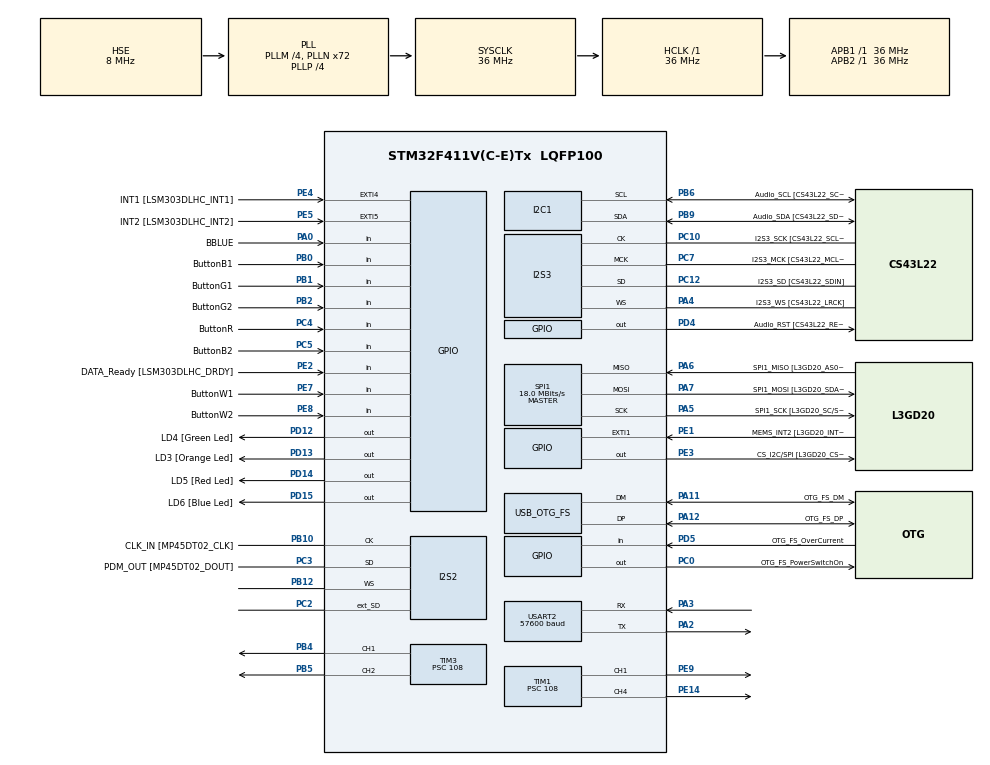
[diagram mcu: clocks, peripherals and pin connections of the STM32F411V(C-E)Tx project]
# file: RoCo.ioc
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I2S2.AudioFreq=I2S_AUDIOFREQ_96K
I2S2.ErrorAudioFreq=0.15 %
I2S2.FullDuplexMode=I2S_FULLDUPLEXMODE_ENABLE
I2S2.Instance=SPI$Index
I2S2.RealAudioFreq=96.153 KHz
I2S2.VirtualMode=I2S_MODE_MASTER
I2S3.AudioFreq=I2S_AUDIOFREQ_96K
I2S3.ErrorAudioFreq=-6.99 %
I2S3.FullDuplexMode=I2S_FULLDUPLEXMODE_DISABLE
I2S3.Instance=SPI$Index
I2S3.RealAudioFreq=89.285 KHz
I2S3.VirtualMode=I2S_MODE_MASTER
Mcu.Family=STM32F4
Mcu.Name=STM32F411V(C-E)Tx
Mcu.Package=LQFP100
NVIC.OTG_FS_IRQn=true\:0\:0\:false\:false\:true\:true\:true
NVIC.PriorityGroup=NVIC_PRIORITYGROUP_0
NVIC.USART2_IRQn=true\:0\:0\:false\:false\:true\:true\:true
PA0-WKUP.GPIO_Label=BBLUE
PA0-WKUP.Signal=GPIO_Input
PA10.GPIO_Label=OTG_FS_ID
PA10.Signal=USB_OTG_FS_ID
PA11.GPIO_Label=OTG_FS_DM
PA11.Mode=Device_Only
PA11.Signal=USB_OTG_FS_DM
PA12.GPIO_Label=OTG_FS_DP
PA12.Mode=Device_Only
PA12.Signal=USB_OTG_FS_DP
PA13.GPIO_Label=SWDIO
PA13.Signal=SYS_JTMS-SWDIO
PA14.GPIO_Label=SWCLK
PA14.Signal=SYS_JTCK-SWCLK
PA2.Mode=Asynchronous
PA2.Signal=USART2_TX
PA3.Mode=Asynchronous
PA3.Signal=USART2_RX
PA4.GPIO_Label=I2S3_WS [CS43L22_LRCK]
PA4.GPIO_Mode=GPIO_MODE_AF_PP
PA4.GPIO_PuPd=GPIO_NOPULL
PA4.GPIO_Speed=GPIO_SPEED_FREQ_LOW
PA4.Mode=Half_Duplex_Master
PA4.Signal=I2S3_WS
PA5.GPIO_Label=SPI1_SCK [L3GD20_SC/SPC]
PA5.Mode=Full_Duplex_Master
PA5.Signal=SPI1_SCK
PA6.GPIO_Label=SPI1_MISO [L3GD20_AS0/SDO]
PA6.Mode=Full_Duplex_Master
PA6.Signal=SPI1_MISO
PA7.GPIO_Label=SPI1_MOSI [L3GD20_SDA/SDI/SDO]
PA7.Mode=Full_Duplex_Master
PA7.Signal=SPI1_MOSI
PA9.GPIO_Label=VBUS_FS
PA9.Signal=USB_OTG_FS_VBUS
PB0.GPIO_Label=ButtonB1
PB0.GPIO_PuPd=GPIO_PULLUP
PB0.Signal=GPIO_Input
PB1.GPIO_Label=ButtonG1
PB1.GPIO_PuPd=GPIO_PULLUP
PB1.Signal=GPIO_Input
PB10.GPIO_Label=CLK_IN [MP45DT02_CLK]
PB10.Mode=Full_Duplex_Master
PB10.Signal=I2S2_CK
PB12.Mode=Full_Duplex_Master
PB12.Signal=I2S2_WS
PB2.GPIO_Label=ButtonG2
PB2.GPIO_PuPd=GPIO_PULLUP
PB2.Signal=GPIO_Input
PB3.GPIO_Label=SWO
PB3.Signal=SYS_JTDO-SWO
PB4.Signal=S_TIM3_CH1
PB5.Signal=S_TIM3_CH2
PB6.GPIO_Label=Audio_SCL [CS43L22_SCL]
PB6.GPIO_Mode=GPIO_MODE_AF_OD
PB6.GPIO_PuPd=GPIO_NOPULL
PB6.GPIO_Speed=GPIO_SPEED_FREQ_LOW
PB6.Mode=I2C
PB6.Signal=I2C1_SCL
PB9.GPIO_Label=Audio_SDA [CS43L22_SDA]
PB9.GPIO_Mode=GPIO_MODE_AF_OD
PB9.GPIO_PuPd=GPIO_NOPULL
PB9.GPIO_Speed=GPIO_SPEED_FREQ_LOW
PB9.Mode=I2C
PB9.Signal=I2C1_SDA
PC0.GPIO_Label=OTG_FS_PowerSwitchOn
PC0.PinState=GPIO_PIN_SET
PC0.Signal=GPIO_Output
PC10.GPIO_Label=I2S3_SCK [CS43L22_SCLK]
PC10.GPIO_Mode=GPIO_MODE_AF_PP
PC10.GPIO_PuPd=GPIO_NOPULL
PC10.GPIO_Speed=GPIO_SPEED_FREQ_LOW
PC10.Mode=Half_Duplex_Master
PC10.Signal=I2S3_CK
PC12.GPIO_Label=I2S3_SD [CS43L22_SDIN]
PC12.GPIO_Mode=GPIO_MODE_AF_PP
PC12.GPIO_PuPd=GPIO_NOPULL
PC12.GPIO_Speed=GPIO_SPEED_FREQ_LOW
PC12.Mode=Half_Duplex_Master
PC12.Signal=I2S3_SD
PC14-OSC32_IN.GPIO_Label=PC14-OSC32_IN
PC14-OSC32_IN.Signal=RCC_OSC32_IN
PC15-OSC32_OUT.GPIO_Label=PC15-OSC32_OUT
PC15-OSC32_OUT.Signal=RCC_OSC32_OUT
PC2.Mode=Full_Duplex_Master
PC2.Signal=I2S2_ext_SD
PC3.GPIO_Label=PDM_OUT [MP45DT02_DOUT]
PC3.Mode=Full_Duplex_Master
PC3.Signal=I2S2_SD
PC4.GPIO_Label=ButtonR
PC4.GPIO_PuPd=GPIO_PULLUP
PC4.Signal=GPIO_Input
PC5.GPIO_Label=ButtonB2
PC5.GPIO_PuPd=GPIO_PULLUP
PC5.Signal=GPIO_Input
PC7.GPIO_Label=I2S3_MCK [CS43L22_MCLK]
PC7.GPIO_Mode=GPIO_MODE_AF_PP
PC7.GPIO_PuPd=GPIO_NOPULL
PC7.GPIO_Speed=GPIO_SPEED_FREQ_LOW
PC7.Mode=Master_Clock_Activated
PC7.Signal=I2S3_MCK
PD12.GPIO_Label=LD4 [Green Led]
PD12.GPIO_PuPd=GPIO_NOPULL
PD12.GPIO_Speed=GPIO_SPEED_FREQ_LOW
PD12.Signal=GPIO_Output
PD13.GPIO_Label=LD3 [Orange Led]
PD13.GPIO_PuPd=GPIO_NOPULL
PD13.GPIO_Speed=GPIO_SPEED_FREQ_LOW
PD13.Signal=GPIO_Output
PD14.GPIO_Label=LD5 [Red Led]
PD14.GPIO_PuPd=GPIO_NOPULL
PD14.GPIO_Speed=GPIO_SPEED_FREQ_LOW
PD14.Signal=GPIO_Output
PD15.GPIO_Label=LD6 [Blue Led]
PD15.GPIO_PuPd=GPIO_NOPULL
PD15.GPIO_Speed=GPIO_SPEED_FREQ_LOW
PD15.Signal=GPIO_Output
PD4.GPIO_Label=Audio_RST [CS43L22_RESET]
PD4.Signal=GPIO_Output
PD5.GPIO_Label=OTG_FS_OverCurrent
PD5.Signal=GPIO_Input
PE1.GPIO_Label=MEMS_INT2 [L3GD20_INT2]
PE1.GPIO_ModeDefaultEXTI=GPIO_MODE_EVT_RISING
PE1.Signal=GPXTI1
PE14.Signal=S_TIM1_CH4
PE2.GPIO_Label=DATA_Ready [LSM303DLHC_DRDY]
PE2.Signal=GPIO_Input
PE3.GPIO_Label=CS_I2C/SPI [L3GD20_CS_I2C/SPI]
PE3.Signal=GPIO_Output
PE4.GPIO_Label=INT1 [LSM303DLHC_INT1]
PE4.GPIO_ModeDefaultEXTI=GPIO_MODE_EVT_RISING
PE4.Signal=GPXTI4
PE5.GPIO_Label=INT2 [LSM303DLHC_INT2]
PE5.GPIO_ModeDefaultEXTI=GPIO_MODE_EVT_RISING
PE5.Signal=GPXTI5
PE7.GPIO_Label=ButtonW1
PE7.GPIO_PuPd=GPIO_PULLUP
PE7.Signal=GPIO_Input
PE8.GPIO_Label=ButtonW2
PE8.GPIO_PuPd=GPIO_PULLUP
PE8.Signal=GPIO_Input
PE9.Signal=S_TIM1_CH1
PH0\ -\ OSC_IN.GPIO_Label=PH0-OSC_IN
PH0\ -\ OSC_IN.Mode=HSE-External-Oscillator
PH0\ -\ OSC_IN.Signal=RCC_OSC_IN
PH1\ -\ OSC_OUT.GPIO_Label=PH1-OSC_OUT
PH1\ -\ OSC_OUT.Mode=HSE-External-Oscillator
PH1\ -\ OSC_OUT.Signal=RCC_OSC_OUT
ProjectManager.HeapSize=0x200
ProjectManager.StackSize=0x400
ProjectManager.TargetToolchain=STM32CubeIDE
RCC.48MHZClocksFreq_Value=48000000
RCC.AHBFreq_Value=36000000
RCC.APB1Freq_Value=36000000
RCC.APB1TimFreq_Value=36000000
RCC.APB2Freq_Value=36000000
RCC.APB2TimFreq_Value=36000000
RCC.CortexFreq_Value=36000000
RCC.HCLKFreq_Value=36000000
RCC.HSE_VALUE=8000000
RCC.HSI_VALUE=16000000
RCC.LSE_VALUE=32768
RCC.PLLI2SM=5
RCC.PLLI2SN=200
RCC.PLLM=4
RCC.PLLN=72
RCC.PLLP=RCC_PLLP_DIV4
RCC.PLLQ=3
RCC.SYSCLKFreq_VALUE=36000000
RCC.SYSCLKSource=RCC_SYSCLKSOURCE_PLLCLK
RCC.VCOOutputFreq_Value=144000000
SH.S_TIM1_CH1.0=TIM1_CH1,PWM Generation1 CH1
SH.S_TIM1_CH4.0=TIM1_CH4,PWM Generation4 CH4
SH.S_TIM3_CH1.0=TIM3_CH1,PWM Generation1 CH1
SH.S_TIM3_CH2.0=TIM3_CH2,PWM Generation2 CH2
SPI1.CalculateBaudRate=18.0 MBits/s
SPI1.Direction=SPI_DIRECTION_2LINES
SPI1.Mode=SPI_MODE_MASTER
SPI1.VirtualType=VM_MASTER
TIM1.Channel-PWM\ Generation1\ CH1=TIM_CHANNEL_1
TIM1.Channel-PWM\ Generation4\ CH4=TIM_CHANNEL_4
TIM1.Period=9999
TIM1.Prescaler=108
TIM3.Channel-PWM\ Generation1\ CH1=TIM_CHANNEL_1
TIM3.Channel-PWM\ Generation2\ CH2=TIM_CHANNEL_2
TIM3.Period=9999
TIM3.Prescaler=108
USART2.BaudRate=57600
USART2.VirtualMode=VM_ASYNC
USB_DEVICE.CLASS_NAME_FS=CDC
USB_DEVICE.VirtualMode=Cdc
USB_DEVICE.VirtualModeFS=Cdc_FS
USB_OTG_FS.VirtualMode=Device_Only
VP_TIM1_VS_ClockSourceINT.Mode=Internal
VP_TIM3_VS_ClockSourceINT.Mode=Internal
VP_USB_DEVICE_VS_USB_DEVICE_CDC_FS.Mode=CDC_FS
board=STM32F411E-DISCO

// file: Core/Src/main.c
/* USER CODE BEGIN Header */
/**
  ******************************************************************************
  * @file           : main.c
  * @brief          : Main program body
  ******************************************************************************
  * @attention
  *
  * <h2><center>&copy; Copyright (c) 2020 STMicroelectronics.
  * All rights reserved.</center></h2>
  *
  * This software component is licensed by ST under Ultimate Liberty license
  * SLA0044, the "License"; You may not use this file except in compliance with
  * the License. You may obtain a copy of the License at:
  *                             www.st.com/SLA0044
  *
  ******************************************************************************
  */
/* USER CODE END Header */

#include "main.h"
#include "i2c.h"
#include "i2s.h"
#include "spi.h"
#include "tim.h"
#include "usart.h"
#include "usb_device.h"
#include "gpio.h"

/* USER CODE BEGIN Includes */
#include "math.h"
#include "usbd_cdc_if.h" // Plik bedacy interfejsem uzytkownika do kontrolera USB
#include "../Oth/stm32f411e_discovery.h"
#include "../Oth/stm32f411e_discovery_accelerometer.h"
/* USER CODE END Includes */

/* USER CODE BEGIN PV */
#define L_MIN 280
#define L_MIN_O 280
#define L_MAX 640
#define L_MAX_O 640
#define L_DIR 640

#define R_MIN 280
#define R_MIN_O 280
#define R_MAX 640
#define R_MAX_O 640
#define R_DIR 640

#define B_MIN 300
#define B_MAX 590
#define B_DIFF 290

#define OFFS 0
#define DIFF 360

int timeStart = 0;
int lAt = 10;
int rAt = 100;

void leftArm(int n){
	if(n>DIFF)
		n=DIFF;
	if(n<0)
		n=0;
//	htim1.Instance->CCR1 = 640 - n; // lewy  - 640 tył 280 przód
	htim3.Instance->CCR1 = L_MAX - OFFS - n; // lewy  - 640 tył 280 przód
}

void rightArm(int n){
	if(n>DIFF)
		n=DIFF;
	if(n<0)
		n=0;
//	htim1.Instance->CCR4 = 280 +  n; // prawy - 280 tył 640 przód
	htim1.Instance->CCR4 = R_MIN + OFFS +  n; // prawy - 280 tył 640 przód
}

void leg(int n){
	if(n>B_DIFF)
		n=B_DIFF;
	if(n<0)
		n=0;
	htim1.Instance->CCR1 = B_MAX - n; // prawy - 280 tył 640 przód
}

void timeF(int t){
	leftArm( DIFF*(t-timeStart)/lAt);
	rightArm(DIFF*(t-timeStart)/rAt);
}

void stopRobot(){
	while(1){
		BSP_LED_Toggle(LED3);
		BSP_LED_Toggle(LED4);
		BSP_LED_Toggle(LED5);
		BSP_LED_Toggle(LED6);
	}
}

void buttons_handler();
void legs();
void jump();
void jumpL();
void jumpR();
void jumpRR();
void jumpF();
/* USER CODE END PV */

void SystemClock_Config(void);
/* USER CODE BEGIN PFP */

uint8_t DataToSend[1000];
uint8_t Dlugosc = 0;
int nIndex = 0;
int lastIndex = 0;
int16_t pDataXYZ[3];
int16_t pDataX = 0;
int16_t pDataY = 0;
int16_t pDataZ = 0;
double i = 1;
double AA1 = 100;
double AA2 = 330;
double AA3 = 330;
double AA4 = 10;
double AA5 = 50;
double AA6 = 200;
double W1 = 0;
double W2 = 0;
double B1 = 0;
double B2 = 0;
double G1 = 0;
double G2 = 0;
double R0 = 0;

double LF = DIFF;
double RF = DIFF;
double BB = 0;

double stepPerTime;
float Roll ;
float Pitch;

/* USER CODE END PFP */

int main(void)
{

  /* MCU Configuration--------------------------------------------------------*/

  /* Reset of all peripherals, Initializes the Flash interface and the Systick. */
  HAL_Init();

  /* Configure the system clock */
  SystemClock_Config();

  /* Initialize all configured peripherals */
  MX_GPIO_Init();
  MX_I2C1_Init();
  MX_I2S2_Init();
  MX_I2S3_Init();
  MX_SPI1_Init();
  MX_USART2_UART_Init();
  MX_USB_DEVICE_Init();
  MX_TIM1_Init();
  MX_TIM3_Init();
  /* USER CODE BEGIN 2 */
  BSP_ACCELERO_Init();

  HAL_TIM_PWM_Start(&htim1, TIM_CHANNEL_1); // PE9
  HAL_TIM_PWM_Start(&htim1, TIM_CHANNEL_4); // PE14
  HAL_TIM_PWM_Start(&htim3, TIM_CHANNEL_2); // PB5
  HAL_TIM_PWM_Start(&htim3, TIM_CHANNEL_1); // PB4
  //    PC4 R
  //    PC5
  //    PB0 G0
  //    PB1
  //    PB2 W0
  //    PE7
  //    PE8 B0

  //    PB5
  timeStart = HAL_GetTick();
  /* USER CODE END 2 */

  /* Infinite loop */
  while (1)
  {

    /* USER CODE BEGIN 3 */

	  buttons_handler();

//	  rightArm(RF);
//	  leftArm(RF);
//	  leg(RF);
	  legs();
	  HAL_Delay(1);
	  RF = DIFF;
	  LF = DIFF;
	  BB = 0;
//	  timeF(HAL_GetTick());

//	  leftArm( DIFF*((int)i%2));
//	  rightArm(DIFF*((int)i%2));
//	  leg(55 + 135 + 135*i); // -145 -> 125  270
  }

  //			Dlugosc = sprintf(DataToSend, "Y \r\n");
  //			CDC_Transmit_FS(DataToSend, Dlugosc);
  //			lastIndex = nIndex;
  /* USER CODE END 3 */
}

void SystemClock_Config(void)
{
  RCC_OscInitTypeDef RCC_OscInitStruct = {0};
  RCC_ClkInitTypeDef RCC_ClkInitStruct = {0};
  RCC_PeriphCLKInitTypeDef PeriphClkInitStruct = {0};

  /** Configure the main internal regulator output voltage
  */
  __HAL_RCC_PWR_CLK_ENABLE();
  __HAL_PWR_VOLTAGESCALING_CONFIG(PWR_REGULATOR_VOLTAGE_SCALE1);
  /** Initializes the CPU, AHB and APB busses clocks
  */
  RCC_OscInitStruct.OscillatorType = RCC_OSCILLATORTYPE_HSE;
  RCC_OscInitStruct.HSEState = RCC_HSE_ON;
  RCC_OscInitStruct.PLL.PLLState = RCC_PLL_ON;
  RCC_OscInitStruct.PLL.PLLSource = RCC_PLLSOURCE_HSE;
  RCC_OscInitStruct.PLL.PLLM = 4;
  RCC_OscInitStruct.PLL.PLLN = 72;
  RCC_OscInitStruct.PLL.PLLP = RCC_PLLP_DIV4;
  RCC_OscInitStruct.PLL.PLLQ = 3;
  if (HAL_RCC_OscConfig(&RCC_OscInitStruct) != HAL_OK)
  {
    Error_Handler();
  }
  /** Initializes the CPU, AHB and APB busses clocks
  */
  RCC_ClkInitStruct.ClockType = RCC_CLOCKTYPE_HCLK|RCC_CLOCKTYPE_SYSCLK
                              |RCC_CLOCKTYPE_PCLK1|RCC_CLOCKTYPE_PCLK2;
  RCC_ClkInitStruct.SYSCLKSource = RCC_SYSCLKSOURCE_PLLCLK;
  RCC_ClkInitStruct.AHBCLKDivider = RCC_SYSCLK_DIV1;
  RCC_ClkInitStruct.APB1CLKDivider = RCC_HCLK_DIV1;
  RCC_ClkInitStruct.APB2CLKDivider = RCC_HCLK_DIV1;

  if (HAL_RCC_ClockConfig(&RCC_ClkInitStruct, FLASH_LATENCY_1) != HAL_OK)
  {
    Error_Handler();
  }
  PeriphClkInitStruct.PeriphClockSelection = RCC_PERIPHCLK_I2S;
  PeriphClkInitStruct.PLLI2S.PLLI2SN = 200;
  PeriphClkInitStruct.PLLI2S.PLLI2SM = 5;
  PeriphClkInitStruct.PLLI2S.PLLI2SR = 2;
  if (HAL_RCCEx_PeriphCLKConfig(&PeriphClkInitStruct) != HAL_OK)
  {
    Error_Handler();
  }
}

/* USER CODE BEGIN 4 */

void buttons_handler(){
  	if(HAL_GPIO_ReadPin(BBLUE_GPIO_Port, BBLUE_Pin)) i = 1;
  	else i = 0;
//
//  	if(HAL_GPIO_ReadPin(ButtonB1_GPIO_Port, ButtonB1_Pin)) BB += 1; // B1 = 1;
//  	else B1 = 0;
//
//  	if(HAL_GPIO_ReadPin(ButtonB2_GPIO_Port, ButtonB2_Pin)) BB -= 1; // B2 = 1;
//  	else B2 = 0;
//
//  	if(HAL_GPIO_ReadPin(ButtonG1_GPIO_Port, ButtonG1_Pin)) LF += 1; // G1 = 1;
//  	else G1 = 0;
//
//  	if(HAL_GPIO_ReadPin(ButtonG2_GPIO_Port, ButtonG2_Pin)) RF += 1; // G2 = 1;
//  	else G2 = 0;
//
//  	if(HAL_GPIO_ReadPin(ButtonW1_GPIO_Port, ButtonW1_Pin)) LF -= 1; // W1 = 1;
//  	else W1 = 0;
//
//  	if(HAL_GPIO_ReadPin(ButtonW2_GPIO_Port, ButtonW2_Pin)) RF -= 1; //  W2 = 1;
//  	else W2 = 0;

  	if(!HAL_GPIO_ReadPin(ButtonB1_GPIO_Port, ButtonB1_Pin)) jumpF(); // B1 = 1;
  	else B1 = 0;

  	if(!HAL_GPIO_ReadPin(ButtonB2_GPIO_Port, ButtonB2_Pin)) jumpF(); // B2 = 1;
  	else B2 = 0;

  	if(!HAL_GPIO_ReadPin(ButtonG1_GPIO_Port, ButtonG1_Pin)) jumpR(); // G1 = 1;
  	else G1 = 0;

  	if(!HAL_GPIO_ReadPin(ButtonG2_GPIO_Port, ButtonG2_Pin)) jumpL(); // G2 = 1;
  	else G2 = 0;

  	if(!HAL_GPIO_ReadPin(ButtonW1_GPIO_Port, ButtonW1_Pin)) jumpRR(); // W1 = 1;
  	else W1 = 0;

  	if(!HAL_GPIO_ReadPin(ButtonW2_GPIO_Port, ButtonW2_Pin)) jumpLL(); //  W2 = 1;
  	else W2 = 0;

  	if(!HAL_GPIO_ReadPin(ButtonR_GPIO_Port, ButtonR_Pin)) jump();
  	else R0 = 0;

  	if(RF > DIFF) RF = DIFF;
  	else if(RF < 0) RF = 0;
  	if(LF > DIFF) LF = DIFF;
  	else if(LF < 0) LF = 0;

  	if(BB > B_DIFF) BB = B_DIFF;
  	else if(BB < 0) BB = 0;

//  	{
//		timeStart = HAL_GetTick();}
}

void legs(){
	leftArm(LF);
	rightArm(RF);
	leg(BB);
}

void jump(){
//	HAL_Delay(AA2);
	// AA1 100, -100, -100, 10 50 26 | RF 270 LF 283 BB 16
	//          -100   100        0  |    194    309    120
	//                            0  |    187    0      165

	//          -100   200  50 50 0  |    148    22     76

	leftArm(LF-AA2);
	rightArm(RF-AA3);
	HAL_Delay(AA4);
	leg(B_DIFF);
	HAL_Delay(AA1);
//	HAL_Delay(40);
	leftArm(LF);
	rightArm(RF);
	HAL_Delay(AA5);
	leg(BB-AA6);
	HAL_Delay(700);
//	leftArm(LF);
//	rightArm(RF);
//	HAL_Delay(100);
}

void jumpR(){
	//	HAL_Delay(AA2);
		// AA1 100, -100   200  50 50 0  |    148    22     76
		AA1 = 100;
		AA2 = -100;
		AA3 = 200;
		AA4 = 50;
		AA5 = 50;
		AA6 = 0;
		RF = 148;
		LF = 22;
		BB = 70;

		leftArm(LF-AA2);
		rightArm(RF-AA3);
		HAL_Delay(AA4);
		leg(B_DIFF);
		HAL_Delay(AA1);
	//	HAL_Delay(40);
//		leftArm(LF);
		rightArm(RF);
		HAL_Delay(AA5);
		leg(BB-AA6);
		HAL_Delay(700);
		leftArm(LF);
	}
void jumpRR(){
	RF = 148;
	LF = 40;
	BB = 70;
	leftArm(LF+50);
	rightArm(RF-50);
	leg(BB+15);
	HAL_Delay(50);
	leg(BB);
	HAL_Delay(30);
	leftArm(LF+300);
	HAL_Delay(120);
}

void jumpLL(){
	RF = 40;
	LF = 148;
	BB = 70;
	rightArm(RF+50);
	leftArm(LF-50);
	leg(BB+15);
	HAL_Delay(50);
	leg(BB);
	HAL_Delay(30);
	rightArm(RF+300);
	HAL_Delay(120);
}

void jumpL(){
	{
		//	HAL_Delay(AA2);
			// AA1 100, -100   200  50 50 0  |    148    22     76

		AA1 = 100;
		AA2 = 200;
		AA3 = -100;
		AA4 = 50;
		AA5 = 50;
		AA6 = 0;
		RF = 22;
		LF = 148;
		BB = 76;
			leftArm(LF-AA2);
			rightArm(RF-AA3);
			HAL_Delay(AA4);
			leg(B_DIFF);
			HAL_Delay(AA1);
		//	HAL_Delay(40);
			leftArm(LF);
//			rightArm(RF);
			HAL_Delay(AA5);
			leg(BB-AA6);
			HAL_Delay(700);
			rightArm(RF);
		}
}
void jumpF(){
	//	HAL_Delay(AA2);
		// AA1 100, -100, -100, 10 50 26 | RF 270 LF 283 BB 16

	AA1 = 100;
	AA2 = -100;
	AA3 = -100;
	AA4 = 10;
	AA5 = 50;
	AA6 = 26;
	RF = 270;
	LF = 283;
	BB = 16;
		leftArm(LF-AA2);
		rightArm(RF-AA3);
		HAL_Delay(AA4);
		leg(B_DIFF);
		HAL_Delay(AA1);
	//	HAL_Delay(40);
		leftArm(LF);
		rightArm(RF);
		HAL_Delay(AA5);
		leg(BB-AA6);
		HAL_Delay(700);
	}

/* USER CODE END 4 */

void Error_Handler(void)
{
}

/************************ (C) COPYRIGHT STMicroelectronics *****END OF FILE****/
